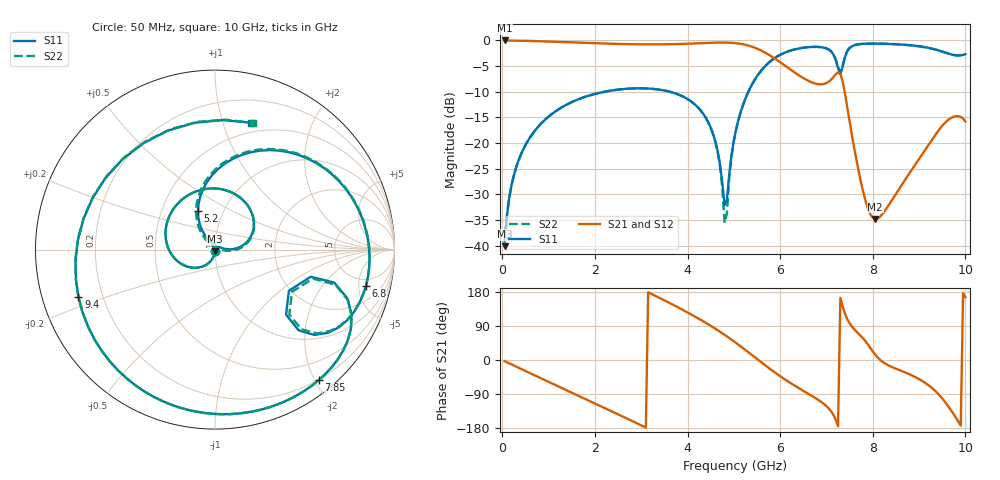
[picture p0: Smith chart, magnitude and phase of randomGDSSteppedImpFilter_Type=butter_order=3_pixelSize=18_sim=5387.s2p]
! freq	dB(S11)	phase(S11)	dB(S12)	phase(S12)
!  dB(S21)	phase(S21)	dB(S22)	phase(S22)
!S-par simulation data
#  GHz  S  DB  R 50
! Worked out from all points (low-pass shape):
!   200 points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, 50 MHz to 10 GHz, reference 50 ohm
!   highest |S21| = -0.01 dB at 50 MHz (marker M1); lowest = -34.8 dB at 8.05 GHz (marker M2)
!   |S21| within 3 dB of the highest: start of sweep to 5.794 GHz
!   lowest |S11| = -40.1 dB at 50 MHz (marker M3), VSWR 1.02, Z = 50 - j0.99 ohm
!   |S11| at or under -10 dB: start of sweep to 2.205 GHz; 3.621 GHz to 5.314 GHz (1.693 GHz wide, 37.9 % of centre)
!   |S22| runs from -40.1 to -0.6 dB; largest |S21 - S12| = 0
!   S11 on the Smith chart (normalised r, x): 50 MHz: 1.00, -0.02; 5.2 GHz: 0.76, +0.35; 6.8 GHz: 3.81, -6.11; 7.85 GHz: 0.19, -2.06; 9.4 GHz: 0.11, -0.17; 10 GHz: 0.40, +1.24
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0.05  -40.08 -92.2  -0.01 -3.0  -0.01 -3.0  -40.08 -92.2
0.2  -28.17 -101.6  -0.03 -11.7  -0.03 -11.7  -28.17 -101.6
0.5  -20.39 -119.5  -0.08 -29.0  -0.08 -29.0  -20.39 -119.5
1.75  -11.11 168.7  -0.47 -100.5  -0.47 -100.5  -11.11 168.7
3.4  -9.59 73.6  -0.76 163.6  -0.76 163.6  -9.60 73.1
4.45  -15.98 8.9  -0.47 94.0  -0.47 94.0  -16.03 6.3
4.7  -24.07 2.7  -0.41 74.7  -0.41 74.7  -24.43 -5.5
4.8  -32.10 40.9  -0.41 66.5  -0.41 66.5  -35.51 29.3
5.05  -17.27 123.2  -0.54 44.9  -0.54 44.9  -17.36 128.0
5.2  -12.51 113.6  -0.75 31.1  -0.75 31.1  -12.54 116.6
5.9  -3.33 52.7  -3.62 -34.1  -3.62 -34.1  -3.33 53.8
6.7  -1.26 -6.7  -8.23 -95.8  -8.23 -95.8  -1.26 -6.0
6.8  -1.26 -13.5  -8.49 -103.4  -8.49 -103.4  -1.26 -12.8
7.3  -6.53 -29.1  -6.56 163.8  -6.56 163.8  -6.21 -28.7
7.5  -1.48 -25.5  -15.80 96.7  -15.80 96.7  -1.44 -26.0
7.85  -0.64 -51.5  -31.46 48.3  -31.46 48.3  -0.64 -51.7
8.05  -0.62 -62.7  -34.80 14.6  -34.80 14.6  -0.62 -62.9
8.35  -0.68 -78.8  -32.00 -14.9  -32.00 -14.9  -0.68 -79.0
8.95  -1.08 -116.0  -23.75 -47.0  -23.75 -47.0  -1.08 -116.5
9.4  -1.88 -160.9  -17.79 -87.8  -17.79 -87.8  -1.90 -161.9
9.7  -2.75 147.0  -15.05 -134.5  -15.05 -134.5  -2.74 145.5
10  -2.68 74.3  -15.78 165.7  -15.78 165.7  -2.64 73.2
